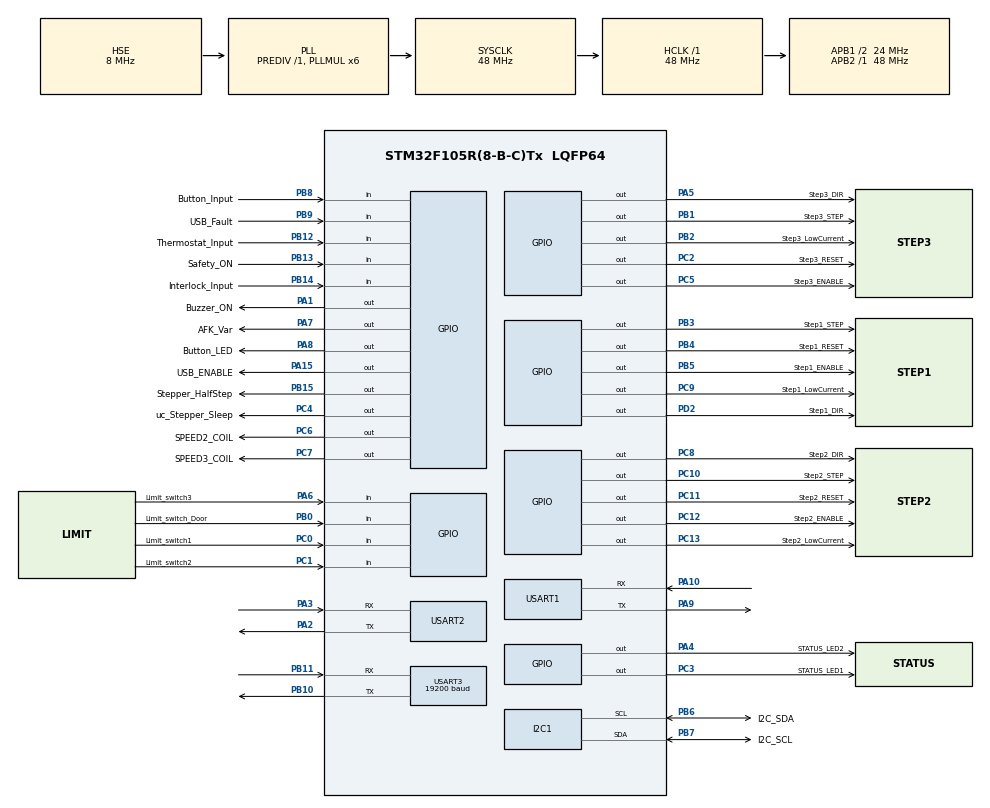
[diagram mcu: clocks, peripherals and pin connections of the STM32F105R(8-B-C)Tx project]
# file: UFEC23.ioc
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Dma.Request0=USART2_RX
Dma.USART2_RX.0.Direction=DMA_PERIPH_TO_MEMORY
Dma.USART2_RX.0.Instance=DMA1_Channel6
Dma.USART2_RX.0.MemDataAlignment=DMA_MDATAALIGN_BYTE
Dma.USART2_RX.0.MemInc=DMA_MINC_ENABLE
Dma.USART2_RX.0.Mode=DMA_CIRCULAR
Dma.USART2_RX.0.PeriphDataAlignment=DMA_PDATAALIGN_BYTE
Dma.USART2_RX.0.PeriphInc=DMA_PINC_DISABLE
Dma.USART2_RX.0.Priority=DMA_PRIORITY_LOW
FREERTOS.INCLUDE_uxTaskGetStackHighWaterMark=1
FREERTOS.Tasks01=defaultTask,0,128,StartDefaultTask,Default,NULL,Dynamic,NULL,NULL
FREERTOS.Timers01=Timer,TimerCallback,osTimerPeriodic,Default,NULL,Dynamic,NULL
FREERTOS.configTOTAL_HEAP_SIZE=8192
FREERTOS.configUSE_NEWLIB_REENTRANT=0
FREERTOS.configUSE_TIMERS=1
Mcu.Family=STM32F1
Mcu.Name=STM32F105R(8-B-C)Tx
Mcu.Package=LQFP64
NVIC.DMA1_Channel6_IRQn=true\:5\:0\:false\:false\:true\:true\:false\:true\:true
NVIC.I2C1_ER_IRQn=true\:5\:0\:false\:false\:true\:true\:true\:true\:true
NVIC.I2C1_EV_IRQn=true\:5\:0\:false\:false\:true\:true\:true\:true\:true
NVIC.PriorityGroup=NVIC_PRIORITYGROUP_4
NVIC.TIM1_UP_IRQn=true\:0\:0\:false\:false\:true\:false\:false\:true\:true
NVIC.TimeBase=TIM1_UP_IRQn
NVIC.TimeBaseIP=TIM1
NVIC.USART1_IRQn=true\:5\:0\:false\:false\:true\:true\:true\:true\:true
NVIC.USART2_IRQn=true\:5\:0\:false\:false\:true\:true\:true\:true\:true
NVIC.USART3_IRQn=true\:5\:0\:false\:false\:true\:true\:true\:true\:true
PA1.GPIO_Label=Buzzer_ON
PA1.Signal=GPIO_Output
PA10.GPIO_PuPd=GPIO_NOPULL
PA10.Mode=Asynchronous
PA10.Signal=USART1_RX
PA13.Mode=Serial_Wire
PA13.Signal=SYS_JTMS-SWDIO
PA14.Mode=Serial_Wire
PA14.Signal=SYS_JTCK-SWCLK
PA15.GPIO_Label=USB_ENABLE
PA15.Signal=GPIO_Output
PA2.Mode=Asynchronous
PA2.Signal=USART2_TX
PA3.GPIO_PuPd=GPIO_NOPULL
PA3.Mode=Asynchronous
PA3.Signal=USART2_RX
PA4.GPIO_Label=STATUS_LED2
PA4.PinState=GPIO_PIN_SET
PA4.Signal=GPIO_Output
PA5.GPIO_Label=Step3_DIR
PA5.PinState=GPIO_PIN_SET
PA5.Signal=GPIO_Output
PA6.GPIO_Label=Limit_switch3
PA6.Signal=GPIO_Input
PA7.GPIO_Label=AFK_Var
PA7.Signal=GPIO_Output
PA8.GPIO_Label=Button_LED
PA8.PinState=GPIO_PIN_SET
PA8.Signal=GPIO_Output
PA9.Mode=Asynchronous
PA9.Signal=USART1_TX
PB0.GPIO_Label=Limit_switch_Door
PB0.Signal=GPIO_Input
PB1.GPIO_Label=Step3_STEP
PB1.Signal=GPIO_Output
PB10.Mode=Asynchronous
PB10.Signal=USART3_TX
PB11.GPIO_PuPd=GPIO_NOPULL
PB11.Mode=Asynchronous
PB11.Signal=USART3_RX
PB12.GPIO_Label=Thermostat_Input
PB12.Signal=GPIO_Input
PB13.GPIO_Label=Safety_ON
PB13.Signal=GPIO_Input
PB14.GPIO_Label=Interlock_Input
PB14.Signal=GPIO_Input
PB15.GPIO_Label=Stepper_HalfStep
PB15.Signal=GPIO_Output
PB2.GPIO_Label=Step3_LowCurrent
PB2.Signal=GPIO_Output
PB3.GPIO_Label=Step1_STEP
PB3.Signal=GPIO_Output
PB4.GPIO_Label=Step1_RESET
PB4.PinState=GPIO_PIN_SET
PB4.Signal=GPIO_Output
PB5.GPIO_Label=Step1_ENABLE
PB5.PinState=GPIO_PIN_SET
PB5.Signal=GPIO_Output
PB6.GPIO_Label=I2C_SDA
PB6.Mode=I2C
PB6.Signal=I2C1_SCL
PB7.GPIO_Label=I2C_SCL
PB7.Mode=I2C
PB7.Signal=I2C1_SDA
PB8.GPIO_Label=Button_Input
PB8.Signal=GPIO_Input
PB9.GPIO_Label=USB_Fault
PB9.Signal=GPIO_Input
PC0.GPIO_Label=Limit_switch1
PC0.Signal=GPIO_Input
PC1.GPIO_Label=Limit_switch2
PC1.Signal=GPIO_Input
PC10.GPIO_Label=Step2_STEP
PC10.Signal=GPIO_Output
PC11.GPIO_Label=Step2_RESET
PC11.PinState=GPIO_PIN_SET
PC11.Signal=GPIO_Output
PC12.GPIO_Label=Step2_ENABLE
PC12.PinState=GPIO_PIN_SET
PC12.Signal=GPIO_Output
PC13-TAMPER-RTC.GPIO_Label=Step2_LowCurrent
PC13-TAMPER-RTC.Signal=GPIO_Output
PC2.GPIO_Label=Step3_RESET
PC2.PinState=GPIO_PIN_SET
PC2.Signal=GPIO_Output
PC3.GPIO_Label=STATUS_LED1
PC3.GPIO_ModeDefaultOutputPP=GPIO_MODE_OUTPUT_PP
PC3.PinState=GPIO_PIN_SET
PC3.Signal=GPIO_Output
PC4.GPIO_Label=uc_Stepper_Sleep
PC4.Signal=GPIO_Output
PC5.GPIO_Label=Step3_ENABLE
PC5.PinState=GPIO_PIN_SET
PC5.Signal=GPIO_Output
PC6.GPIO_Label=SPEED2_COIL
PC6.Signal=GPIO_Output
PC7.GPIO_Label=SPEED3_COIL
PC7.Signal=GPIO_Output
PC8.GPIO_Label=Step2_DIR
PC8.Signal=GPIO_Output
PC9.GPIO_Label=Step1_LowCurrent
PC9.Signal=GPIO_Output
PD0-OSC_IN.Mode=HSE-External-Oscillator
PD0-OSC_IN.Signal=RCC_OSC_IN
PD1-OSC_OUT.Mode=HSE-External-Oscillator
PD1-OSC_OUT.Signal=RCC_OSC_OUT
PD2.GPIO_Label=Step1_DIR
PD2.Signal=GPIO_Output
ProjectManager.HeapSize=0x200
ProjectManager.StackSize=0x400
ProjectManager.TargetToolchain=STM32CubeIDE
RCC.AHBFreq_Value=48000000
RCC.APB1CLKDivider=RCC_HCLK_DIV2
RCC.APB1Freq_Value=24000000
RCC.APB1TimFreq_Value=48000000
RCC.APB2Freq_Value=48000000
RCC.APB2TimFreq_Value=48000000
RCC.HCLKFreq_Value=48000000
RCC.PLL2Mul=RCC_PLL2_MUL12
RCC.PLLMUL=RCC_PLL_MUL6
RCC.PLLSourceVirtual=RCC_PLLSOURCE_HSE
RCC.Prediv2=RCC_HSE_PREDIV2_DIV2
RCC.SYSCLKFreq_VALUE=48000000
RCC.SYSCLKSource=RCC_SYSCLKSOURCE_PLLCLK
RCC.USBFreq_Value=32000000
USART1.VirtualMode=VM_ASYNC
USART2.VirtualMode=VM_ASYNC
USART3.BaudRate=19200
USART3.VirtualMode=VM_ASYNC
VP_FREERTOS_VS_CMSIS_V1.Mode=CMSIS_V1
VP_RTC_No_RTC_Output.Mode=RTC_OUT_NO
VP_RTC_VS_RTC_Activate.Mode=RTC_Enabled
VP_RTC_VS_RTC_Calendar.Mode=RTC_Calendar
VP_SYS_VS_tim1.Mode=TIM1
board=custom

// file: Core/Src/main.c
/* USER CODE BEGIN Header */
/**
  ******************************************************************************
  * @file           : main.c
  * @brief          : Main program body
  ******************************************************************************
  * @attention
  *
  * <h2><center>&copy; Copyright (c) 2022 STMicroelectronics.
  * All rights reserved.</center></h2>
  *
  * This software component is licensed by ST under BSD 3-Clause license,
  * the "License"; You may not use this file except in compliance with the
  * License. You may obtain a copy of the License at:
  *                        opensource.org/licenses/BSD-3-Clause
  *
  ******************************************************************************
  */
/* USER CODE END Header */
#include "main.h"
#include "cmsis_os.h"

/* USER CODE BEGIN Includes */
#include "MotorManager.h"
#include "TemperatureManager.h"
#include "DebugPort.h"
#include "TestManager.h"
#include "DebugManager.h"
#include "MemBlock.h"
#include "algo.h"
#include "Hmi.h"
#include "ParticlesManager.h"
#include "EspBridge.h"
#include "ParamFile.h"
#include <stdio.h>
/* USER CODE END Includes */

/* USER CODE BEGIN PD */
#define MAJOR_VER 1
#define MINOR_VER 0
#define REVISION_VER 8

#define ESP32_ISACTIVE (1)
#define MEASURE_PARTICLES_ISACTIVE (1)
/* USER CODE END PD */

I2C_HandleTypeDef hi2c1;

RTC_HandleTypeDef hrtc;

UART_HandleTypeDef huart1;
UART_HandleTypeDef huart2;
UART_HandleTypeDef huart3;
DMA_HandleTypeDef hdma_usart2_rx;

osThreadId defaultTaskHandle;
osTimerId TimerHandle;
/* USER CODE BEGIN PV */
static osThreadId TemperatureMeasHandle;
static osThreadId StepperManagerTHandle;
static osThreadId DebugManagerTHandle;
static osThreadId HmiManagerTHandle;

#if MEASURE_PARTICLES_ISACTIVE
static osThreadId ParticlesManagerTHandle;
#endif

#if ESP32_ISACTIVE
osThreadId EspManagerTHandle;
#endif

RTC_TimeTypeDef sTime;

/* USER CODE END PV */

void SystemClock_Config(void);
static void MX_GPIO_Init(void);
static void MX_DMA_Init(void);
static void MX_RTC_Init(void);
static void MX_USART1_UART_Init(void);
void StartDefaultTask(void const * argument);
void TimerCallback(void const * argument);

/* USER CODE BEGIN PFP */
//void TemperatureManager(void const * argument);
//void Steppermanager(void const * argument);

/* USER CODE END PFP */

int main(void)
{

  /* MCU Configuration--------------------------------------------------------*/

  /* Reset of all peripherals, Initializes the Flash interface and the Systick. */
  HAL_Init();

  /* Configure the system clock */
  SystemClock_Config();

  /* Initialize all configured peripherals */
  MX_GPIO_Init();
  MX_DMA_Init();
  MX_I2C1_Init();
  MX_RTC_Init();
  MX_USART1_UART_Init();
  MX_USART3_UART_Init();
  MX_USART2_UART_Init();
  /* USER CODE BEGIN 2 */

  MEMBLOCK_Init();

  PARAMFILE_Init(); // Initialize param file reader before main process

  ParticleInit();

  ESPMANAGER_Init();

  // Print all parameters into the debug file
  for(uint32_t ix = 0; ix < PARAMFILE_GetParamEntryCount(); ix++)
  {
	  const PFL_SParameterItem* pParamItem = PARAMFILE_GetParamEntryByIndex(ix);
	  if (pParamItem == NULL)
		  continue;

	  char tmp[128+1];
	  int32_t s32Value;
	  PFL_GetValueInt32(&PARAMFILE_g_sHandle, pParamItem->szKey, &s32Value);
	  snprintf(tmp, sizeof(tmp), "%s | %d (default: %d, min: %d, max: %d)", pParamItem->szKey, (int)s32Value, (int)pParamItem->uType.sInt32.s32Default, (int)pParamItem->uType.sInt32.s32Min, (int)pParamItem->uType.sInt32.s32Max);
	  printf(tmp);
  }

  /* USER CODE END 2 */

  /* Create the timer(s) */
  /* definition and creation of Timer */
  osTimerDef(Timer, TimerCallback);
  TimerHandle = osTimerCreate(osTimer(Timer), osTimerPeriodic, NULL);

  /* Create the thread(s) */
  /* definition and creation of defaultTask */
  osThreadDef(defaultTask, StartDefaultTask, osPriorityNormal, 0, 128);
  defaultTaskHandle = osThreadCreate(osThread(defaultTask), NULL);

  /* USER CODE BEGIN RTOS_THREADS */
  /* add threads, ... */

  osThreadDef(TemperatureMeas, TemperatureManager, osPriorityNormal, 0, 512); //TODO: Validate maximum stack needed adding printf end in Hard Fault handler
  TemperatureMeasHandle = osThreadCreate(osThread(TemperatureMeas), NULL);

  osThreadDef(StepperManagerT, Steppermanager, osPriorityNormal, 0, 128);
  StepperManagerTHandle = osThreadCreate(osThread(StepperManagerT), NULL);

  osThreadDef(DebugManagerT, DebugManager, osPriorityNormal, 0, 512);
  DebugManagerTHandle = osThreadCreate(osThread(DebugManagerT), NULL);

  osThreadDef(HmiManagerT, HmiManager, osPriorityNormal, 0, 128);
  HmiManagerTHandle = osThreadCreate(osThread(HmiManagerT), NULL);

#if MEASURE_PARTICLES_ISACTIVE
  osThreadDef(ParticlesManagerT, ParticlesManager, osPriorityNormal, 0, 128);
  ParticlesManagerTHandle = osThreadCreate(osThread(ParticlesManagerT), NULL);
#endif

#if ESP32_ISACTIVE
  osThreadDef(EspManagerT, ESPMANAGER_Task, osPriorityNormal, 0, 128);
  EspManagerTHandle = osThreadCreate(osThread(EspManagerT), NULL);
#endif

  /* USER CODE END RTOS_THREADS */

  /* Start scheduler */
  osKernelStart();

  /* We should never get here as control is now taken by the scheduler */
  /* Infinite loop */
  while (1)
  {

  }
}

void SystemClock_Config(void)
{
  RCC_OscInitTypeDef RCC_OscInitStruct = {0};
  RCC_ClkInitTypeDef RCC_ClkInitStruct = {0};
  RCC_PeriphCLKInitTypeDef PeriphClkInit = {0};

  /** Initializes the RCC Oscillators according to the specified parameters
  * in the RCC_OscInitTypeDef structure.
  */
  RCC_OscInitStruct.OscillatorType = RCC_OSCILLATORTYPE_LSI|RCC_OSCILLATORTYPE_HSE;
  RCC_OscInitStruct.HSEState = RCC_HSE_ON;
  RCC_OscInitStruct.HSEPredivValue = RCC_HSE_PREDIV_DIV1;
  RCC_OscInitStruct.HSIState = RCC_HSI_ON;
  RCC_OscInitStruct.LSIState = RCC_LSI_ON;
  RCC_OscInitStruct.Prediv1Source = RCC_PREDIV1_SOURCE_HSE;
  RCC_OscInitStruct.PLL.PLLState = RCC_PLL_ON;
  RCC_OscInitStruct.PLL.PLLSource = RCC_PLLSOURCE_HSE;
  RCC_OscInitStruct.PLL.PLLMUL = RCC_PLL_MUL6;
  RCC_OscInitStruct.PLL2.PLL2State = RCC_PLL_NONE;
  if (HAL_RCC_OscConfig(&RCC_OscInitStruct) != HAL_OK)
  {
    Error_Handler();
  }
  /** Initializes the CPU, AHB and APB buses clocks
  */
  RCC_ClkInitStruct.ClockType = RCC_CLOCKTYPE_HCLK|RCC_CLOCKTYPE_SYSCLK
                              |RCC_CLOCKTYPE_PCLK1|RCC_CLOCKTYPE_PCLK2;
  RCC_ClkInitStruct.SYSCLKSource = RCC_SYSCLKSOURCE_PLLCLK;
  RCC_ClkInitStruct.AHBCLKDivider = RCC_SYSCLK_DIV1;
  RCC_ClkInitStruct.APB1CLKDivider = RCC_HCLK_DIV2;
  RCC_ClkInitStruct.APB2CLKDivider = RCC_HCLK_DIV1;

  if (HAL_RCC_ClockConfig(&RCC_ClkInitStruct, FLASH_LATENCY_1) != HAL_OK)
  {
    Error_Handler();
  }
  PeriphClkInit.PeriphClockSelection = RCC_PERIPHCLK_RTC;
  PeriphClkInit.RTCClockSelection = RCC_RTCCLKSOURCE_LSI;
  if (HAL_RCCEx_PeriphCLKConfig(&PeriphClkInit) != HAL_OK)
  {
    Error_Handler();
  }
  /** Configure the Systick interrupt time
  */
  __HAL_RCC_PLLI2S_ENABLE();
}

void MX_I2C1_Init(void)
{

  hi2c1.Instance = I2C1;
  hi2c1.Init.ClockSpeed = 100000;
  hi2c1.Init.DutyCycle = I2C_DUTYCYCLE_2;
  hi2c1.Init.OwnAddress1 = 0;
  hi2c1.Init.AddressingMode = I2C_ADDRESSINGMODE_7BIT;
  hi2c1.Init.DualAddressMode = I2C_DUALADDRESS_DISABLE;
  hi2c1.Init.OwnAddress2 = 0;
  hi2c1.Init.GeneralCallMode = I2C_GENERALCALL_DISABLE;
  hi2c1.Init.NoStretchMode = I2C_NOSTRETCH_DISABLE;
  if (HAL_I2C_Init(&hi2c1) != HAL_OK)
  {
    Error_Handler();
  }

}

static void MX_RTC_Init(void)
{

  RTC_TimeTypeDef sTime = {0};
  RTC_DateTypeDef DateToUpdate = {0};

  /** Initialize RTC Only
  */
  hrtc.Instance = RTC;
  hrtc.Init.AsynchPrediv = RTC_AUTO_1_SECOND;
  hrtc.Init.OutPut = RTC_OUTPUTSOURCE_NONE;
  if (HAL_RTC_Init(&hrtc) != HAL_OK)
  {
    Error_Handler();
  }

  /** Initialize RTC and set the Time and Date
  */
  sTime.Hours = 0x0;
  sTime.Minutes = 0x0;
  sTime.Seconds = 0x0;

  if (HAL_RTC_SetTime(&hrtc, &sTime, RTC_FORMAT_BCD) != HAL_OK)
  {
    Error_Handler();
  }
  DateToUpdate.WeekDay = RTC_WEEKDAY_MONDAY;
  DateToUpdate.Month = RTC_MONTH_JANUARY;
  DateToUpdate.Date = 0x1;
  DateToUpdate.Year = 0x0;

  if (HAL_RTC_SetDate(&hrtc, &DateToUpdate, RTC_FORMAT_BCD) != HAL_OK)
  {
    Error_Handler();
  }

}

static void MX_USART1_UART_Init(void)
{

  huart1.Instance = USART1;
  huart1.Init.BaudRate = 115200;
  huart1.Init.WordLength = UART_WORDLENGTH_8B;
  huart1.Init.StopBits = UART_STOPBITS_1;
  huart1.Init.Parity = UART_PARITY_NONE;
  huart1.Init.Mode = UART_MODE_TX_RX;
  huart1.Init.HwFlowCtl = UART_HWCONTROL_NONE;
  huart1.Init.OverSampling = UART_OVERSAMPLING_16;
  if (HAL_UART_Init(&huart1) != HAL_OK)
  {
    Error_Handler();
  }

}

void MX_USART2_UART_Init(void)
{

  /* USER CODE BEGIN USART2_Init 0 */
#if ESP32_ISACTIVE
  /* USER CODE END USART2_Init 0 */

  huart2.Instance = USART2;
  huart2.Init.BaudRate = 115200;
  huart2.Init.WordLength = UART_WORDLENGTH_8B;
  huart2.Init.StopBits = UART_STOPBITS_1;
  huart2.Init.Parity = UART_PARITY_NONE;
  huart2.Init.Mode = UART_MODE_TX_RX;
  huart2.Init.HwFlowCtl = UART_HWCONTROL_NONE;
  huart2.Init.OverSampling = UART_OVERSAMPLING_16;
  if (HAL_UART_Init(&huart2) != HAL_OK)
  {
    Error_Handler();
  }
  /* USER CODE BEGIN USART2_Init 2 */
#endif
  /* USER CODE END USART2_Init 2 */

}

void MX_USART3_UART_Init(void)
{

  /* USER CODE BEGIN USART3_Init 0 */
#if MEASURE_PARTICLES_ISACTIVE
  /* USER CODE END USART3_Init 0 */

  huart3.Instance = USART3;
  huart3.Init.BaudRate = 19200;
  huart3.Init.WordLength = UART_WORDLENGTH_8B;
  huart3.Init.StopBits = UART_STOPBITS_1;
  huart3.Init.Parity = UART_PARITY_NONE;
  huart3.Init.Mode = UART_MODE_TX_RX;
  huart3.Init.HwFlowCtl = UART_HWCONTROL_NONE;
  huart3.Init.OverSampling = UART_OVERSAMPLING_16;
  if (HAL_UART_Init(&huart3) != HAL_OK)
  {
    Error_Handler();
  }
  /* USER CODE BEGIN USART3_Init 2 */
#endif
  /* USER CODE END USART3_Init 2 */

}

static void MX_DMA_Init(void)
{

  /* DMA controller clock enable */
  __HAL_RCC_DMA1_CLK_ENABLE();

  /* DMA interrupt init */
  /* DMA1_Channel6_IRQn interrupt configuration */
  HAL_NVIC_SetPriority(DMA1_Channel6_IRQn, 5, 0);
  HAL_NVIC_EnableIRQ(DMA1_Channel6_IRQn);

}

static void MX_GPIO_Init(void)
{
  GPIO_InitTypeDef GPIO_InitStruct = {0};

  /* GPIO Ports Clock Enable */
  __HAL_RCC_GPIOC_CLK_ENABLE();
  __HAL_RCC_GPIOD_CLK_ENABLE();
  __HAL_RCC_GPIOA_CLK_ENABLE();
  __HAL_RCC_GPIOB_CLK_ENABLE();

  /*Configure GPIO pin Output Level */
  HAL_GPIO_WritePin(GPIOC, Step2_LowCurrent_Pin|uc_Stepper_Sleep_Pin|SPEED2_COIL_Pin|SPEED3_COIL_Pin
                          |Step2_DIR_Pin|Step1_LowCurrent_Pin|Step2_STEP_Pin, GPIO_PIN_RESET);

  /*Configure GPIO pin Output Level */
  HAL_GPIO_WritePin(GPIOC, Step3_RESET_Pin|STATUS_LED1_Pin|Step3_ENABLE_Pin|Step2_RESET_Pin
                          |Step2_ENABLE_Pin, GPIO_PIN_SET);

  /*Configure GPIO pin Output Level */
  HAL_GPIO_WritePin(GPIOA, Buzzer_ON_Pin|AFK_Var_Pin|USB_ENABLE_Pin, GPIO_PIN_RESET);

  /*Configure GPIO pin Output Level */
  HAL_GPIO_WritePin(GPIOA, STATUS_LED2_Pin|Step3_DIR_Pin|Button_LED_Pin, GPIO_PIN_SET);

  /*Configure GPIO pin Output Level */
  HAL_GPIO_WritePin(GPIOB, Step3_STEP_Pin|Step3_LowCurrent_Pin|Stepper_HalfStep_Pin|Step1_STEP_Pin, GPIO_PIN_RESET);

  /*Configure GPIO pin Output Level */
  HAL_GPIO_WritePin(Step1_DIR_GPIO_Port, Step1_DIR_Pin, GPIO_PIN_RESET);

  /*Configure GPIO pin Output Level */
  HAL_GPIO_WritePin(GPIOB, Step1_RESET_Pin|Step1_ENABLE_Pin, GPIO_PIN_SET);

  /*Configure GPIO pins : Step2_LowCurrent_Pin Step3_RESET_Pin STATUS_LED1_Pin uc_Stepper_Sleep_Pin
                           Step3_ENABLE_Pin SPEED2_COIL_Pin SPEED3_COIL_Pin Step2_DIR_Pin
                           Step1_LowCurrent_Pin Step2_STEP_Pin Step2_RESET_Pin Step2_ENABLE_Pin */
  GPIO_InitStruct.Pin = Step2_LowCurrent_Pin|Step3_RESET_Pin|STATUS_LED1_Pin|uc_Stepper_Sleep_Pin
                          |Step3_ENABLE_Pin|SPEED2_COIL_Pin|SPEED3_COIL_Pin|Step2_DIR_Pin
                          |Step1_LowCurrent_Pin|Step2_STEP_Pin|Step2_RESET_Pin|Step2_ENABLE_Pin;
  GPIO_InitStruct.Mode = GPIO_MODE_OUTPUT_PP;
  GPIO_InitStruct.Pull = GPIO_NOPULL;
  GPIO_InitStruct.Speed = GPIO_SPEED_FREQ_LOW;
  HAL_GPIO_Init(GPIOC, &GPIO_InitStruct);

  /*Configure GPIO pins : Limit_switch1_Pin Limit_switch2_Pin */
  GPIO_InitStruct.Pin = Limit_switch1_Pin|Limit_switch2_Pin;
  GPIO_InitStruct.Mode = GPIO_MODE_INPUT;
  GPIO_InitStruct.Pull = GPIO_NOPULL;
  HAL_GPIO_Init(GPIOC, &GPIO_InitStruct);

  /*Configure GPIO pins : Buzzer_ON_Pin STATUS_LED2_Pin Step3_DIR_Pin AFK_Var_Pin
                           Button_LED_Pin USB_ENABLE_Pin */
  GPIO_InitStruct.Pin = Buzzer_ON_Pin|STATUS_LED2_Pin|Step3_DIR_Pin|AFK_Var_Pin
                          |Button_LED_Pin|USB_ENABLE_Pin;
  GPIO_InitStruct.Mode = GPIO_MODE_OUTPUT_PP;
  GPIO_InitStruct.Pull = GPIO_NOPULL;
  GPIO_InitStruct.Speed = GPIO_SPEED_FREQ_LOW;
  HAL_GPIO_Init(GPIOA, &GPIO_InitStruct);

  /*Configure GPIO pin : Limit_switch3_Pin */
  GPIO_InitStruct.Pin = Limit_switch3_Pin;
  GPIO_InitStruct.Mode = GPIO_MODE_INPUT;
  GPIO_InitStruct.Pull = GPIO_NOPULL;
  HAL_GPIO_Init(Limit_switch3_GPIO_Port, &GPIO_InitStruct);

  /*Configure GPIO pins : Limit_switch_Door_Pin Thermostat_Input_Pin Safety_ON_Pin Interlock_Input_Pin
                           Button_Input_Pin USB_Fault_Pin */
  GPIO_InitStruct.Pin = Limit_switch_Door_Pin|Thermostat_Input_Pin|Safety_ON_Pin|Interlock_Input_Pin
                          |Button_Input_Pin|USB_Fault_Pin;
  GPIO_InitStruct.Mode = GPIO_MODE_INPUT;
  GPIO_InitStruct.Pull = GPIO_NOPULL;
  HAL_GPIO_Init(GPIOB, &GPIO_InitStruct);

  /*Configure GPIO pins : Step3_STEP_Pin Step3_LowCurrent_Pin Stepper_HalfStep_Pin Step1_STEP_Pin
                           Step1_RESET_Pin Step1_ENABLE_Pin */
  GPIO_InitStruct.Pin = Step3_STEP_Pin|Step3_LowCurrent_Pin|Stepper_HalfStep_Pin|Step1_STEP_Pin
                          |Step1_RESET_Pin|Step1_ENABLE_Pin;
  GPIO_InitStruct.Mode = GPIO_MODE_OUTPUT_PP;
  GPIO_InitStruct.Pull = GPIO_NOPULL;
  GPIO_InitStruct.Speed = GPIO_SPEED_FREQ_LOW;
  HAL_GPIO_Init(GPIOB, &GPIO_InitStruct);

  /*Configure GPIO pin : Step1_DIR_Pin */
  GPIO_InitStruct.Pin = Step1_DIR_Pin;
  GPIO_InitStruct.Mode = GPIO_MODE_OUTPUT_PP;
  GPIO_InitStruct.Pull = GPIO_NOPULL;
  GPIO_InitStruct.Speed = GPIO_SPEED_FREQ_LOW;
  HAL_GPIO_Init(Step1_DIR_GPIO_Port, &GPIO_InitStruct);

}

void StartDefaultTask(void const * argument)
{
  /* USER CODE BEGIN 5 */
	printf("-------------------------------\n\r"); //TODO: if we remove this call, go to hardfault handler  or fail to execute

	    switch (readModel())
	    {
	    	  case HEATMAX:
	  	   	  printf("HeatCom CaddyAdv");
	  	  break;
	    	  case CADDY_ADVANCED:
	    		  printf("Caddy Advanced");
	  	  break;
	    	  case HEATPACK:
	    		  printf("Heatpack");
	  	  break;
	    	  case MINI_CADDY:
	    		  printf("Mini Caddy");
	    	  break;
	    	  case HEATPRO:
	    		  printf("HeatPro");
	  	  break;
	    	  case MAX_CADDY:
	    		  printf("Max Caddy");
	  	  break;
	    	  default:
	    		  printf("Invalid Model");
	    		break;
	    }
	    uint32_t j=0; //for a dumbass delay
	    //HAL_GPIO_WritePin(STATUS_LED0_GPIO_Port,STATUS_LED0_Pin,SET);
	    HAL_GPIO_WritePin(STATUS_LED1_GPIO_Port,STATUS_LED1_Pin,SET);
	    HAL_GPIO_WritePin(STATUS_LED2_GPIO_Port,STATUS_LED2_Pin,SET);
	    for(j=0;j<10000000;j++){asm("NOP");}
	    printf(" Version %i.%i.%i\n\r",MAJOR_VER,MINOR_VER,REVISION_VER);

	    int i=0;

	    for(i=0;i<MAJOR_VER;i++)
	    {
	  	  //HAL_GPIO_WritePin(STATUS_LED0_GPIO_Port,STATUS_LED0_Pin,RESET);
	  	  //for(j=0;j<5000000;j++){asm("NOP");}
	  	  //HAL_GPIO_WritePin(STATUS_LED0_GPIO_Port,STATUS_LED0_Pin,SET);
	  	  //for(j=0;j<5000000;j++){asm("NOP");}
	    }
	    for(i=0;i<MINOR_VER;i++)
	    {
	  	  HAL_GPIO_WritePin(STATUS_LED1_GPIO_Port,STATUS_LED1_Pin,RESET);
	  	  for(j=0;j<5000000;j++){asm("NOP");}
	  	  HAL_GPIO_WritePin(STATUS_LED1_GPIO_Port,STATUS_LED1_Pin,SET);
	  	  for(j=0;j<5000000;j++){asm("NOP");}
	    }
	    for(i=0;i<REVISION_VER;i++)
	    {
	  	  HAL_GPIO_WritePin(STATUS_LED2_GPIO_Port,STATUS_LED2_Pin,RESET);
	  	  for(j=0;j<5000000;j++){asm("NOP");}
	  	  HAL_GPIO_WritePin(STATUS_LED2_GPIO_Port,STATUS_LED2_Pin,SET);
	  	  for(j=0;j<5000000;j++){asm("NOP");}
	    }

  /* Infinite loop */
  for(;;)
  {

	  osDelay(1);
  }
  /* USER CODE END 5 */
}

/* TimerCallback function */
void TimerCallback(void const * argument)
{
  /* USER CODE BEGIN TimerCallback */
	osTimerStop(TimerHandle);
  /* USER CODE END TimerCallback */
}

 /**
  * @brief  Period elapsed callback in non blocking mode
  * @note   This function is called  when TIM1 interrupt took place, inside
  * HAL_TIM_IRQHandler(). It makes a direct call to HAL_IncTick() to increment
  * a global variable "uwTick" used as application time base.
  * @param  htim : TIM handle
  * @retval None
  */
void HAL_TIM_PeriodElapsedCallback(TIM_HandleTypeDef *htim)
{
  if (htim->Instance == TIM1) {
    HAL_IncTick();
  }
}

void Error_Handler(void)
{
  /* USER CODE BEGIN Error_Handler_Debug */
	printf("Error Handler called");
  /* User can add his own implementation to report the HAL error return state */
  __disable_irq();
  while (1)
  {
  }
  /* USER CODE END Error_Handler_Debug */
}

/************************ (C) COPYRIGHT STMicroelectronics *****END OF FILE****/
